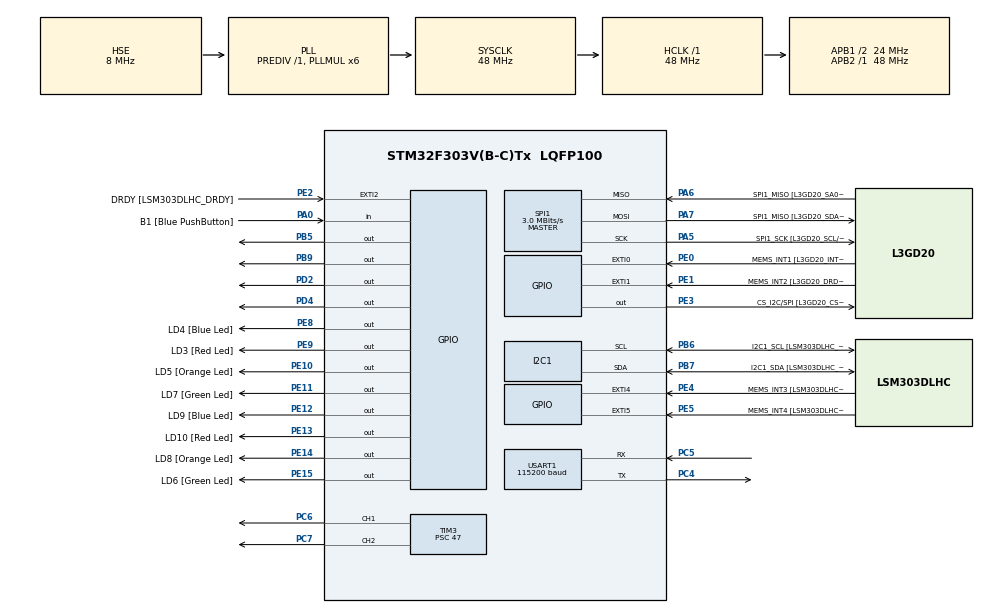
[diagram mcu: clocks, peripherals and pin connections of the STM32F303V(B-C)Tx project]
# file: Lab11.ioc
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I2C1.Timing=0x00201D2B
I2C1.Timing-I2C=0x2000090E
Mcu.Family=STM32F3
Mcu.Name=STM32F303V(B-C)Tx
Mcu.Package=LQFP100
NVIC.PriorityGroup=NVIC_PRIORITYGROUP_0
NVIC.TIM2_IRQn=true\:0\:0\:false\:false\:true\:true\:true\:true
PA0.GPIO_Label=B1 [Blue PushButton]
PA0.Signal=GPIO_Input
PA13.GPIO_Label=SWDIO
PA13.Mode=Serial_Wire
PA13.Signal=SYS_JTMS-SWDIO
PA14.GPIO_Label=SWCLK
PA14.Mode=Serial_Wire
PA14.Signal=SYS_JTCK-SWCLK
PA5.GPIO_Label=SPI1_SCK [L3GD20_SCL/SPC]
PA5.Mode=Full_Duplex_Master
PA5.Signal=SPI1_SCK
PA6.GPIO_Label=SPI1_MISO [L3GD20_SA0/SDO]
PA6.Mode=Full_Duplex_Master
PA6.Signal=SPI1_MISO
PA7.GPIO_Label=SPI1_MISO [L3GD20_SDA/SDI/SDO]
PA7.Mode=Full_Duplex_Master
PA7.Signal=SPI1_MOSI
PB5.Signal=GPIO_Output
PB6.GPIO_Label=I2C1_SCL [LSM303DLHC_SCL]
PB6.GPIO_Pu=GPIO_PULLUP
PB6.Mode=I2C
PB6.Signal=I2C1_SCL
PB7.GPIO_Label=I2C1_SDA [LSM303DLHC_SDA]
PB7.GPIO_Pu=GPIO_PULLUP
PB7.Mode=I2C
PB7.Signal=I2C1_SDA
PB9.Signal=GPIO_Output
PC14-OSC32_IN.GPIO_Label=OSC32_IN
PC14-OSC32_IN.Signal=RCC_OSC32_IN
PC15-OSC32_OUT.GPIO_Label=OSC32_OUT
PC15-OSC32_OUT.Signal=RCC_OSC32_OUT
PC4.Mode=Asynchronous
PC4.Signal=USART1_TX
PC5.Mode=Asynchronous
PC5.Signal=USART1_RX
PC6.Signal=S_TIM3_CH1
PC7.Signal=S_TIM3_CH2
PD2.Signal=GPIO_Output
PD4.Signal=GPIO_Output
PE0.GPIO_Label=MEMS_INT1 [L3GD20_INT1]
PE0.GPIO_ModeDefaultEXTI=GPIO_MODE_EVT_RISING
PE0.Signal=GPXTI0
PE1.GPIO_Label=MEMS_INT2 [L3GD20_DRDY/INT2]
PE1.GPIO_ModeDefaultEXTI=GPIO_MODE_EVT_RISING
PE1.Signal=GPXTI1
PE10.GPIO_Label=LD5 [Orange Led]
PE10.Signal=GPIO_Output
PE11.GPIO_Label=LD7 [Green Led]
PE11.Signal=GPIO_Output
PE12.GPIO_Label=LD9 [Blue Led]
PE12.Signal=GPIO_Output
PE13.GPIO_Label=LD10 [Red Led]
PE13.Signal=GPIO_Output
PE14.GPIO_Label=LD8 [Orange Led]
PE14.Signal=GPIO_Output
PE15.GPIO_Label=LD6 [Green Led]
PE15.Signal=GPIO_Output
PE2.GPIO_Label=DRDY [LSM303DLHC_DRDY]
PE2.GPIO_ModeDefaultEXTI=GPIO_MODE_EVT_RISING
PE2.Signal=GPXTI2
PE3.GPIO_Label=CS_I2C/SPI [L3GD20_CS_I2C/SPI]
PE3.Signal=GPIO_Output
PE4.GPIO_Label=MEMS_INT3 [LSM303DLHC_INT1]
PE4.GPIO_ModeDefaultEXTI=GPIO_MODE_EVT_RISING
PE4.Signal=GPXTI4
PE5.GPIO_Label=MEMS_INT4 [LSM303DLHC_INT2]
PE5.GPIO_ModeDefaultEXTI=GPIO_MODE_EVT_RISING
PE5.Signal=GPXTI5
PE8.GPIO_Label=LD4 [Blue Led]
PE8.Signal=GPIO_Output
PE9.GPIO_Label=LD3 [Red Led]
PE9.Signal=GPIO_Output
PF0-OSC_IN.GPIO_Label=OSC_IN
PF0-OSC_IN.Mode=HSE-External-Clock-Source
PF0-OSC_IN.Signal=RCC_OSC_IN
PF1-OSC_OUT.GPIO_Label=OSC_OUT
PF1-OSC_OUT.Signal=RCC_OSC_OUT
ProjectManager.HeapSize=0x200
ProjectManager.StackSize=0x400
ProjectManager.TargetToolchain=CMake
RCC.AHBFreq_Value=48000000
RCC.APB1CLKDivider=RCC_HCLK_DIV2
RCC.APB1Freq_Value=24000000
RCC.APB1TimFreq_Value=48000000
RCC.APB2Freq_Value=48000000
RCC.APB2TimFreq_Value=48000000
RCC.CortexFreq_Value=48000000
RCC.HCLKFreq_Value=48000000
RCC.HSE_VALUE=8000000
RCC.HSI_VALUE=8000000
RCC.LSE_VALUE=32768
RCC.PLLMUL=RCC_PLL_MUL6
RCC.PLLSourceVirtual=RCC_PLLSOURCE_HSE
RCC.SYSCLKFreq_VALUE=48000000
RCC.SYSCLKSourceVirtual=RCC_SYSCLKSOURCE_PLLCLK
RCC.USBFreq_Value=48000000
SH.S_TIM3_CH1.0=TIM3_CH1,PWM Generation1 CH1
SH.S_TIM3_CH2.0=TIM3_CH2,PWM Generation2 CH2
SPI1.BaudRatePrescaler=SPI_BAUDRATEPRESCALER_16
SPI1.BaudRatePrescaler-Full_Duplex_Master=SPI_BAUDRATEPRESCALER_2
SPI1.CLKPhase=SPI_PHASE_2EDGE
SPI1.CLKPolarity=SPI_POLARITY_HIGH
SPI1.CalculateBaudRate=3.0 MBits/s
SPI1.CalculateBaudRate-Full_Duplex_Master=24.0 MBits/s
SPI1.DataSize=SPI_DATASIZE_8BIT
SPI1.Direction=SPI_DIRECTION_2LINES
SPI1.Mode=SPI_MODE_MASTER
SPI1.Mode-Full_Duplex_Master=SPI_MODE_MASTER
SPI1.VirtualType=VM_MASTER
TIM2.Period=49
TIM2.Prescaler=4799
TIM3.Channel-PWM\ Generation1\ CH1=TIM_CHANNEL_1
TIM3.Channel-PWM\ Generation2\ CH2=TIM_CHANNEL_2
TIM3.Period=999
TIM3.Prescaler=47
USART1.BaudRate=115200
USART1.VirtualMode-Asynchronous=VM_ASYNC
VP_TIM2_VS_ClockSourceINT.Mode=Internal
VP_TIM3_VS_ClockSourceINT.Mode=Internal
board=STM32F3DISCOVERY

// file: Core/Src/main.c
/* USER CODE BEGIN Header */
/**
  ******************************************************************************
  * @file           : main.c
  * @brief          : Main program body
  ******************************************************************************
  * @attention
  *
  * Copyright (c) 2026 STMicroelectronics.
  * All rights reserved.
  *
  * This software is licensed under terms that can be found in the LICENSE file
  * in the root directory of this software component.
  * If no LICENSE file comes with this software, it is provided AS-IS.
  *
  ******************************************************************************
  */
/* USER CODE END Header */
#include "main.h"

/* USER CODE BEGIN Includes */
#include <math.h>
#include <stdint.h>
#include <stdio.h>

/* USER CODE END Includes */

I2C_HandleTypeDef hi2c1;

SPI_HandleTypeDef hspi1;

TIM_HandleTypeDef htim2;
TIM_HandleTypeDef htim3;

UART_HandleTypeDef huart1;

/* USER CODE BEGIN PV */
int16_t raw[3];
float acc[3];
float gyro_offset[3];
float angle = 0.0f;
volatile uint8_t flag = 0;
volatile float acc_v = 0.0f;
volatile float gyro_v = 0.0f;
volatile float ang_v = 0.0f;

/* USER CODE END PV */

void SystemClock_Config(void);
static void MX_GPIO_Init(void);
static void MX_I2C1_Init(void);
static void MX_SPI1_Init(void);
static void MX_USART1_UART_Init(void);
static void MX_TIM3_Init(void);
static void MX_TIM2_Init(void);
/* USER CODE BEGIN PFP */
void gyro_init(void);
void gyro_set_ctrl_reg4(void);
void Init_LSM(void);
void Read_LSM(void);
void Offset_Gyro(void);

/* USER CODE END PFP */

/* USER CODE BEGIN 0 */
void reader(uint8_t tx, uint8_t *rx)
{
  HAL_GPIO_WritePin(GPIOE, GPIO_PIN_3, GPIO_PIN_RESET);
  HAL_SPI_Transmit(&hspi1, &tx, 1, HAL_MAX_DELAY);
  HAL_SPI_Receive(&hspi1, rx, 1, HAL_MAX_DELAY);
  HAL_GPIO_WritePin(GPIOE, GPIO_PIN_3, GPIO_PIN_SET);
}

void gyro_init(void)
{
  uint8_t tx[2] = {0x20, 0b00001111};
  HAL_GPIO_WritePin(GPIOE, GPIO_PIN_3, GPIO_PIN_RESET);
  HAL_SPI_Transmit(&hspi1, tx, 2, HAL_MAX_DELAY);
  HAL_GPIO_WritePin(GPIOE, GPIO_PIN_3, GPIO_PIN_SET);
}

void gyro_set_ctrl_reg4(void)
{
  uint8_t tx[2] = {0x23, 0b10000000};
  HAL_GPIO_WritePin(GPIOE, GPIO_PIN_3, GPIO_PIN_RESET);
  HAL_SPI_Transmit(&hspi1, tx, 2, HAL_MAX_DELAY);
  HAL_GPIO_WritePin(GPIOE, GPIO_PIN_3, GPIO_PIN_SET);
}

int16_t read_16bit(uint8_t high, uint8_t low)
{
  return (int16_t)((high << 8) | low);
}

void Init_LSM(void)
{
  uint8_t ctrl1 = 0x67;
  uint8_t ctrl4 = 0x88;
  HAL_I2C_Mem_Write(&hi2c1, 0x32, 0x20, 1, &ctrl1, 1, HAL_MAX_DELAY);
  HAL_I2C_Mem_Write(&hi2c1, 0x32, 0x23, 1, &ctrl4, 1, HAL_MAX_DELAY);
}

void Read_LSM(void)
{
  uint8_t buf[6];

  // 0x28 | 0x80 sets the auto-increment bit. It pulls all 6 bytes in one fast transaction!
  HAL_I2C_Mem_Read(&hi2c1, 0x33, 0x28 | 0x80, 1, buf, 6, 5); // 5ms timeout instead of HAL_MAX_DELAY

  // buf[0]=XL, buf[1]=XH, buf[2]=YL, buf[3]=YH, buf[4]=ZL, buf[5]=ZH
  raw[0] = (int16_t)(((int16_t)((buf[1] << 8) | buf[0])) >> 4);
  raw[1] = (int16_t)(((int16_t)((buf[3] << 8) | buf[2])) >> 4);
  raw[2] = (int16_t)(((int16_t)((buf[5] << 8) | buf[4])) >> 4);

  acc[0] = raw[0] * 0.001f;
  acc[1] = raw[1] * 0.001f;
  acc[2] = raw[2] * 0.001f;
}

void Offset_Gyro(void)
{
  float temp = 0.0f;

  for (int i = 0; i < 200; i++)
  {
    uint8_t yH, yL;
    reader(0x80 | 0x2B, &yH);
    reader(0x80 | 0x2A, &yL);

    temp += read_16bit(yH, yL) * 0.00875f;
    HAL_Delay(5);
  }

  gyro_offset[1] = temp / 200.0f;
  gyro_offset[0] = 0.0f;
  gyro_offset[2] = 0.0f;
}

float Gyro_ReadY(void)
{
    uint8_t tx[3] = {0xC0 | 0x2A, 0x00, 0x00};
    uint8_t rx[3] = {0};
    HAL_GPIO_WritePin(GPIOE, GPIO_PIN_3, GPIO_PIN_RESET);
    HAL_SPI_TransmitReceive(&hspi1, tx, rx, 3, 5);
    HAL_GPIO_WritePin(GPIOE, GPIO_PIN_3, GPIO_PIN_SET);
    int16_t y = (int16_t)((rx[2] << 8) | rx[1]);
    return (y * 0.00875f);
}
/*
void Run_Twiddle(uint32_t survival_time, float *kp, float *ki, float *kd) {
    static float p[3] = {1.085f, 0.05f, 0.15f};
    static float dp[3] = {0.1f, 0.01f, 0.05f};
    static uint32_t best_time = 0;
    static int idx = 0;
    static int state = 0;

    if ((dp[0] + dp[1] + dp[2]) < 0.001f) {
        *kp = p[0]; *ki = p[1]; *kd = p[2];
        return;
    }

    if (best_time == 0) {
        best_time = survival_time;
        p[idx] += dp[idx];
        state = 1;
    } else if (state == 1) {
        if (survival_time > best_time) {
            best_time = survival_time;
            dp[idx] *= 1.1f;
            idx = (idx + 1) % 3;
            p[idx] += dp[idx];
            state = 1;
        } else {
            p[idx] -= 2.0f * dp[idx];
            state = 2;
        }
    } else if (state == 2) {
        if (survival_time > best_time) {
            best_time = survival_time;
            dp[idx] *= 1.1f;
        } else {
            p[idx] += dp[idx];
            dp[idx] *= 0.9f;
        }
        idx = (idx + 1) % 3;
        p[idx] += dp[idx];
        state = 1;
    }

    *kp = p[0]; *ki = p[1]; *kd = p[2];
}
*/
/* USER CODE END 0 */

int main(void)
{

  /* MCU Configuration--------------------------------------------------------*/

  /* Reset of all peripherals, Initializes the Flash interface and the Systick. */
  HAL_Init();

  /* Configure the system clock */
  SystemClock_Config();

  /* Initialize all configured peripherals */
  MX_GPIO_Init();
  MX_I2C1_Init();
  MX_SPI1_Init();
  MX_USART1_UART_Init();
  MX_TIM3_Init();
  MX_TIM2_Init();
  /* USER CODE BEGIN 2 */
  Init_LSM();
  gyro_init();
  gyro_set_ctrl_reg4();

  HAL_Delay(500);
  Offset_Gyro();
  Read_LSM();
  angle = atan2f(acc[0], acc[2]) * 57.2958f;
  HAL_TIM_PWM_Start(&htim3, TIM_CHANNEL_1);
  HAL_TIM_PWM_Start(&htim3, TIM_CHANNEL_2);
  HAL_TIM_Base_Start_IT(&htim2);
  /* USER CODE END 2 */

  /* Infinite loop */
  while (1)
  {

    /* USER CODE BEGIN 3 */
    if (flag)
    {
      char buffer[80];
      int n = snprintf(buffer, sizeof(buffer), "%.2f,%.2f,%.2f\r\n", acc_v, gyro_v, ang_v);
      if (n > 0)
      {
        HAL_UART_Transmit(&huart1, (uint8_t *)buffer, (uint16_t)n, HAL_MAX_DELAY);
      }
      flag = 0;
    }
  }
  /* USER CODE END 3 */
}

void SystemClock_Config(void)
{
  RCC_OscInitTypeDef RCC_OscInitStruct = {0};
  RCC_ClkInitTypeDef RCC_ClkInitStruct = {0};
  RCC_PeriphCLKInitTypeDef PeriphClkInit = {0};

  /** Initializes the RCC Oscillators according to the specified parameters
  * in the RCC_OscInitTypeDef structure.
  */
  RCC_OscInitStruct.OscillatorType = RCC_OSCILLATORTYPE_HSI|RCC_OSCILLATORTYPE_HSE;
  RCC_OscInitStruct.HSEState = RCC_HSE_BYPASS;
  RCC_OscInitStruct.HSEPredivValue = RCC_HSE_PREDIV_DIV1;
  RCC_OscInitStruct.HSIState = RCC_HSI_ON;
  RCC_OscInitStruct.HSICalibrationValue = RCC_HSICALIBRATION_DEFAULT;
  RCC_OscInitStruct.PLL.PLLState = RCC_PLL_ON;
  RCC_OscInitStruct.PLL.PLLSource = RCC_PLLSOURCE_HSE;
  RCC_OscInitStruct.PLL.PLLMUL = RCC_PLL_MUL6;
  if (HAL_RCC_OscConfig(&RCC_OscInitStruct) != HAL_OK)
  {
    Error_Handler();
  }

  /** Initializes the CPU, AHB and APB buses clocks
  */
  RCC_ClkInitStruct.ClockType = RCC_CLOCKTYPE_HCLK|RCC_CLOCKTYPE_SYSCLK
                              |RCC_CLOCKTYPE_PCLK1|RCC_CLOCKTYPE_PCLK2;
  RCC_ClkInitStruct.SYSCLKSource = RCC_SYSCLKSOURCE_PLLCLK;
  RCC_ClkInitStruct.AHBCLKDivider = RCC_SYSCLK_DIV1;
  RCC_ClkInitStruct.APB1CLKDivider = RCC_HCLK_DIV2;
  RCC_ClkInitStruct.APB2CLKDivider = RCC_HCLK_DIV1;

  if (HAL_RCC_ClockConfig(&RCC_ClkInitStruct, FLASH_LATENCY_1) != HAL_OK)
  {
    Error_Handler();
  }
  PeriphClkInit.PeriphClockSelection = RCC_PERIPHCLK_USART1|RCC_PERIPHCLK_I2C1;
  PeriphClkInit.Usart1ClockSelection = RCC_USART1CLKSOURCE_PCLK2;
  PeriphClkInit.I2c1ClockSelection = RCC_I2C1CLKSOURCE_HSI;
  if (HAL_RCCEx_PeriphCLKConfig(&PeriphClkInit) != HAL_OK)
  {
    Error_Handler();
  }
}

static void MX_I2C1_Init(void)
{

  hi2c1.Instance = I2C1;
  hi2c1.Init.Timing = 0x00201D2B;
  hi2c1.Init.OwnAddress1 = 0;
  hi2c1.Init.AddressingMode = I2C_ADDRESSINGMODE_7BIT;
  hi2c1.Init.DualAddressMode = I2C_DUALADDRESS_DISABLE;
  hi2c1.Init.OwnAddress2 = 0;
  hi2c1.Init.OwnAddress2Masks = I2C_OA2_NOMASK;
  hi2c1.Init.GeneralCallMode = I2C_GENERALCALL_DISABLE;
  hi2c1.Init.NoStretchMode = I2C_NOSTRETCH_DISABLE;
  if (HAL_I2C_Init(&hi2c1) != HAL_OK)
  {
    Error_Handler();
  }

  /** Configure Analogue filter
  */
  if (HAL_I2CEx_ConfigAnalogFilter(&hi2c1, I2C_ANALOGFILTER_ENABLE) != HAL_OK)
  {
    Error_Handler();
  }

  /** Configure Digital filter
  */
  if (HAL_I2CEx_ConfigDigitalFilter(&hi2c1, 0) != HAL_OK)
  {
    Error_Handler();
  }

}

static void MX_SPI1_Init(void)
{

  /* SPI1 parameter configuration*/
  hspi1.Instance = SPI1;
  hspi1.Init.Mode = SPI_MODE_MASTER;
  hspi1.Init.Direction = SPI_DIRECTION_2LINES;
  hspi1.Init.DataSize = SPI_DATASIZE_8BIT;
  hspi1.Init.CLKPolarity = SPI_POLARITY_HIGH;
  hspi1.Init.CLKPhase = SPI_PHASE_2EDGE;
  hspi1.Init.NSS = SPI_NSS_SOFT;
  hspi1.Init.BaudRatePrescaler = SPI_BAUDRATEPRESCALER_16;
  hspi1.Init.FirstBit = SPI_FIRSTBIT_MSB;
  hspi1.Init.TIMode = SPI_TIMODE_DISABLE;
  hspi1.Init.CRCCalculation = SPI_CRCCALCULATION_DISABLE;
  hspi1.Init.CRCPolynomial = 7;
  hspi1.Init.CRCLength = SPI_CRC_LENGTH_DATASIZE;
  hspi1.Init.NSSPMode = SPI_NSS_PULSE_DISABLE;
  if (HAL_SPI_Init(&hspi1) != HAL_OK)
  {
    Error_Handler();
  }

}

static void MX_TIM2_Init(void)
{

  TIM_ClockConfigTypeDef sClockSourceConfig = {0};
  TIM_MasterConfigTypeDef sMasterConfig = {0};

  htim2.Instance = TIM2;
  htim2.Init.Prescaler = 4799;
  htim2.Init.CounterMode = TIM_COUNTERMODE_UP;
  htim2.Init.Period = 49;
  htim2.Init.ClockDivision = TIM_CLOCKDIVISION_DIV1;
  htim2.Init.AutoReloadPreload = TIM_AUTORELOAD_PRELOAD_DISABLE;
  if (HAL_TIM_Base_Init(&htim2) != HAL_OK)
  {
    Error_Handler();
  }
  sClockSourceConfig.ClockSource = TIM_CLOCKSOURCE_INTERNAL;
  if (HAL_TIM_ConfigClockSource(&htim2, &sClockSourceConfig) != HAL_OK)
  {
    Error_Handler();
  }
  sMasterConfig.MasterOutputTrigger = TIM_TRGO_RESET;
  sMasterConfig.MasterSlaveMode = TIM_MASTERSLAVEMODE_DISABLE;
  if (HAL_TIMEx_MasterConfigSynchronization(&htim2, &sMasterConfig) != HAL_OK)
  {
    Error_Handler();
  }

}

static void MX_TIM3_Init(void)
{

  TIM_ClockConfigTypeDef sClockSourceConfig = {0};
  TIM_MasterConfigTypeDef sMasterConfig = {0};
  TIM_OC_InitTypeDef sConfigOC = {0};

  htim3.Instance = TIM3;
  htim3.Init.Prescaler = 47;
  htim3.Init.CounterMode = TIM_COUNTERMODE_UP;
  htim3.Init.Period = 999;
  htim3.Init.ClockDivision = TIM_CLOCKDIVISION_DIV1;
  htim3.Init.AutoReloadPreload = TIM_AUTORELOAD_PRELOAD_DISABLE;
  if (HAL_TIM_Base_Init(&htim3) != HAL_OK)
  {
    Error_Handler();
  }
  sClockSourceConfig.ClockSource = TIM_CLOCKSOURCE_INTERNAL;
  if (HAL_TIM_ConfigClockSource(&htim3, &sClockSourceConfig) != HAL_OK)
  {
    Error_Handler();
  }
  if (HAL_TIM_PWM_Init(&htim3) != HAL_OK)
  {
    Error_Handler();
  }
  sMasterConfig.MasterOutputTrigger = TIM_TRGO_RESET;
  sMasterConfig.MasterSlaveMode = TIM_MASTERSLAVEMODE_DISABLE;
  if (HAL_TIMEx_MasterConfigSynchronization(&htim3, &sMasterConfig) != HAL_OK)
  {
    Error_Handler();
  }
  sConfigOC.OCMode = TIM_OCMODE_PWM1;
  sConfigOC.Pulse = 0;
  sConfigOC.OCPolarity = TIM_OCPOLARITY_HIGH;
  sConfigOC.OCFastMode = TIM_OCFAST_DISABLE;
  if (HAL_TIM_PWM_ConfigChannel(&htim3, &sConfigOC, TIM_CHANNEL_1) != HAL_OK)
  {
    Error_Handler();
  }
  if (HAL_TIM_PWM_ConfigChannel(&htim3, &sConfigOC, TIM_CHANNEL_2) != HAL_OK)
  {
    Error_Handler();
  }
  HAL_TIM_MspPostInit(&htim3);

}

static void MX_USART1_UART_Init(void)
{

  huart1.Instance = USART1;
  huart1.Init.BaudRate = 115200;
  huart1.Init.WordLength = UART_WORDLENGTH_8B;
  huart1.Init.StopBits = UART_STOPBITS_1;
  huart1.Init.Parity = UART_PARITY_NONE;
  huart1.Init.Mode = UART_MODE_TX_RX;
  huart1.Init.HwFlowCtl = UART_HWCONTROL_NONE;
  huart1.Init.OverSampling = UART_OVERSAMPLING_16;
  huart1.Init.OneBitSampling = UART_ONE_BIT_SAMPLE_DISABLE;
  huart1.AdvancedInit.AdvFeatureInit = UART_ADVFEATURE_NO_INIT;
  if (HAL_UART_Init(&huart1) != HAL_OK)
  {
    Error_Handler();
  }

}

static void MX_GPIO_Init(void)
{
  GPIO_InitTypeDef GPIO_InitStruct = {0};

  /* GPIO Ports Clock Enable */
  __HAL_RCC_GPIOE_CLK_ENABLE();
  __HAL_RCC_GPIOC_CLK_ENABLE();
  __HAL_RCC_GPIOF_CLK_ENABLE();
  __HAL_RCC_GPIOA_CLK_ENABLE();
  __HAL_RCC_GPIOD_CLK_ENABLE();
  __HAL_RCC_GPIOB_CLK_ENABLE();

  /*Configure GPIO pin Output Level */
  HAL_GPIO_WritePin(GPIOE, CS_I2C_SPI_Pin|LD4_Pin|LD3_Pin|LD5_Pin
                          |LD7_Pin|LD9_Pin|LD10_Pin|LD8_Pin
                          |LD6_Pin, GPIO_PIN_RESET);

  /*Configure GPIO pin Output Level */
  HAL_GPIO_WritePin(GPIOD, GPIO_PIN_2|GPIO_PIN_4, GPIO_PIN_RESET);

  /*Configure GPIO pin Output Level */
  HAL_GPIO_WritePin(GPIOB, GPIO_PIN_5|GPIO_PIN_9, GPIO_PIN_RESET);

  /*Configure GPIO pins : DRDY_Pin MEMS_INT3_Pin MEMS_INT4_Pin MEMS_INT1_Pin
                           MEMS_INT2_Pin */
  GPIO_InitStruct.Pin = DRDY_Pin|MEMS_INT3_Pin|MEMS_INT4_Pin|MEMS_INT1_Pin
                          |MEMS_INT2_Pin;
  GPIO_InitStruct.Mode = GPIO_MODE_EVT_RISING;
  GPIO_InitStruct.Pull = GPIO_NOPULL;
  HAL_GPIO_Init(GPIOE, &GPIO_InitStruct);

  /*Configure GPIO pins : CS_I2C_SPI_Pin LD4_Pin LD3_Pin LD5_Pin
                           LD7_Pin LD9_Pin LD10_Pin LD8_Pin
                           LD6_Pin */
  GPIO_InitStruct.Pin = CS_I2C_SPI_Pin|LD4_Pin|LD3_Pin|LD5_Pin
                          |LD7_Pin|LD9_Pin|LD10_Pin|LD8_Pin
                          |LD6_Pin;
  GPIO_InitStruct.Mode = GPIO_MODE_OUTPUT_PP;
  GPIO_InitStruct.Pull = GPIO_NOPULL;
  GPIO_InitStruct.Speed = GPIO_SPEED_FREQ_LOW;
  HAL_GPIO_Init(GPIOE, &GPIO_InitStruct);

  /*Configure GPIO pin : B1_Pin */
  GPIO_InitStruct.Pin = B1_Pin;
  GPIO_InitStruct.Mode = GPIO_MODE_INPUT;
  GPIO_InitStruct.Pull = GPIO_NOPULL;
  HAL_GPIO_Init(B1_GPIO_Port, &GPIO_InitStruct);

  /*Configure GPIO pins : PD2 PD4 */
  GPIO_InitStruct.Pin = GPIO_PIN_2|GPIO_PIN_4;
  GPIO_InitStruct.Mode = GPIO_MODE_OUTPUT_PP;
  GPIO_InitStruct.Pull = GPIO_NOPULL;
  GPIO_InitStruct.Speed = GPIO_SPEED_FREQ_LOW;
  HAL_GPIO_Init(GPIOD, &GPIO_InitStruct);

  /*Configure GPIO pins : PB5 PB9 */
  GPIO_InitStruct.Pin = GPIO_PIN_5|GPIO_PIN_9;
  GPIO_InitStruct.Mode = GPIO_MODE_OUTPUT_PP;
  GPIO_InitStruct.Pull = GPIO_NOPULL;
  GPIO_InitStruct.Speed = GPIO_SPEED_FREQ_LOW;
  HAL_GPIO_Init(GPIOB, &GPIO_InitStruct);

}

/* USER CODE BEGIN 4 */
void HAL_TIM_PeriodElapsedCallback(TIM_HandleTypeDef *htim)
{
  if (htim->Instance == TIM2)
  {
    Read_LSM();
    static uint32_t survival_ticks = 0;
    survival_ticks++;
    float x_dps = Gyro_ReadY() - gyro_offset[1];

    float acc_angle = atan2f(acc[0], acc[2]) * 57.2958f;
    float dt = 0.005f;

    angle = 0.98f * (angle + x_dps * dt) + 0.02f * acc_angle;

    static float integral = 0.0f;
    float Kp = 2.15f;
    float Ki = 0.05f;
    float Kd = 0.07f;

    float error = -3.5f - angle;

    integral += error * dt;
    if (integral > 200) integral = 200;
    if (integral < -200) integral = -200;

    float derivative = -x_dps;

    float output = Kp * error + Ki * integral + Kd * derivative;

    int pwm = (int)fabsf(output);

    if (pwm > 0) {
        pwm += 80;
    }

    if (pwm > 999) pwm = 999;

    if (fabsf(angle) > 40.0f) {
        pwm = 0;
        integral = 0.0f;
    }
    if (fabsf(angle) > 40.0f) {
        pwm = 0;
        integral = 0.0f;

        /*
        Run_Twiddle(survival_ticks, &Kp, &Ki, &Kd);
        */

        survival_ticks = 0;
    }
    if (output < 0 && pwm > 0) {
      __HAL_TIM_SET_COMPARE(&htim3, TIM_CHANNEL_1, pwm);
      __HAL_TIM_SET_COMPARE(&htim3, TIM_CHANNEL_2, pwm);
      HAL_GPIO_WritePin(GPIOB, GPIO_PIN_5, GPIO_PIN_SET);
      HAL_GPIO_WritePin(GPIOD, GPIO_PIN_4, GPIO_PIN_RESET);
      HAL_GPIO_WritePin(GPIOD, GPIO_PIN_2, GPIO_PIN_SET);
      HAL_GPIO_WritePin(GPIOB, GPIO_PIN_9, GPIO_PIN_RESET);
    } else if (output > 0 && pwm > 0) {
      __HAL_TIM_SET_COMPARE(&htim3, TIM_CHANNEL_1, pwm);
      __HAL_TIM_SET_COMPARE(&htim3, TIM_CHANNEL_2, pwm);
      HAL_GPIO_WritePin(GPIOB, GPIO_PIN_5, GPIO_PIN_RESET);
      HAL_GPIO_WritePin(GPIOD, GPIO_PIN_4, GPIO_PIN_SET);
      HAL_GPIO_WritePin(GPIOD, GPIO_PIN_2, GPIO_PIN_RESET);
      HAL_GPIO_WritePin(GPIOB, GPIO_PIN_9, GPIO_PIN_SET);
    } else {
      __HAL_TIM_SET_COMPARE(&htim3, TIM_CHANNEL_1, 0);
      __HAL_TIM_SET_COMPARE(&htim3, TIM_CHANNEL_2, 0);
    }

    acc_v = acc_angle;
    gyro_v = x_dps;
    ang_v = angle;

    static int counter = 0;
    counter++;
    if (counter >= 20)
    {
      flag = 1;
      counter = 0;
    }
  }
}
/* USER CODE END 4 */

void Error_Handler(void)
{
  __disable_irq();
  while (1)
  {
  }
}
